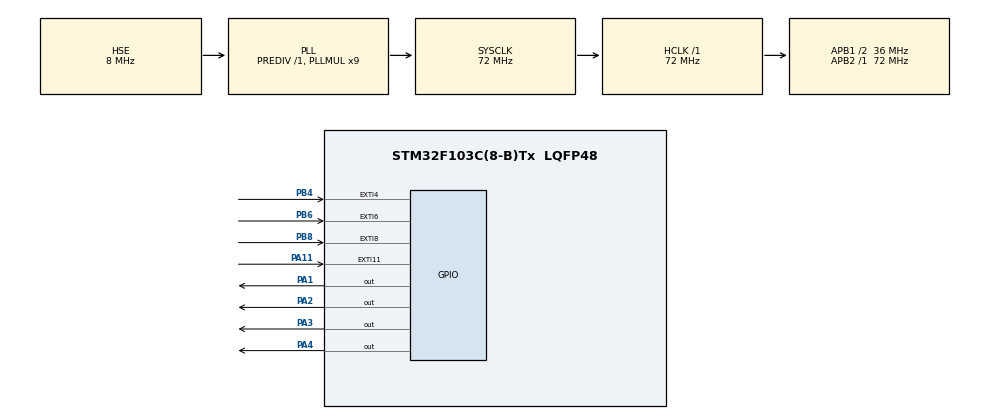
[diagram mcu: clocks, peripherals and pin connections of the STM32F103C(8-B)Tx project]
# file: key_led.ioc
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Mcu.Family=STM32F1
Mcu.Name=STM32F103C(8-B)Tx
Mcu.Package=LQFP48
NVIC.EXTI15_10_IRQn=true\:0\:0\:false\:false\:true\:true\:true\:true
NVIC.EXTI4_IRQn=true\:0\:0\:false\:false\:true\:true\:true\:true
NVIC.EXTI9_5_IRQn=true\:0\:0\:false\:false\:true\:true\:true\:true
NVIC.PriorityGroup=NVIC_PRIORITYGROUP_4
PA0-WKUP.Mode=SYS_WakeUp0
PA0-WKUP.Signal=SYS_WKUP
PA1.GPIO_PuPd=GPIO_NOPULL
PA1.PinState=GPIO_PIN_SET
PA1.Signal=GPIO_Output
PA11.GPIO_ModeDefaultEXTI=GPIO_MODE_IT_FALLING
PA11.GPIO_PuPd=GPIO_PULLUP
PA11.Signal=GPXTI11
PA13.Mode=Serial_Wire
PA13.Signal=SYS_JTMS-SWDIO
PA14.Mode=Serial_Wire
PA14.Signal=SYS_JTCK-SWCLK
PA2.GPIO_PuPd=GPIO_NOPULL
PA2.PinState=GPIO_PIN_SET
PA2.Signal=GPIO_Output
PA3.GPIO_PuPd=GPIO_NOPULL
PA3.PinState=GPIO_PIN_SET
PA3.Signal=GPIO_Output
PA4.GPIO_PuPd=GPIO_NOPULL
PA4.PinState=GPIO_PIN_SET
PA4.Signal=GPIO_Output
PB4.GPIO_ModeDefaultEXTI=GPIO_MODE_IT_FALLING
PB4.GPIO_PuPd=GPIO_PULLUP
PB4.Signal=GPXTI4
PB6.GPIO_ModeDefaultEXTI=GPIO_MODE_IT_FALLING
PB6.GPIO_PuPd=GPIO_PULLUP
PB6.Signal=GPXTI6
PB8.GPIO_ModeDefaultEXTI=GPIO_MODE_IT_FALLING
PB8.GPIO_PuPd=GPIO_PULLUP
PB8.Signal=GPXTI8
PD0-OSC_IN.Mode=HSE-External-Oscillator
PD0-OSC_IN.Signal=RCC_OSC_IN
PD1-OSC_OUT.Mode=HSE-External-Oscillator
PD1-OSC_OUT.Signal=RCC_OSC_OUT
ProjectManager.HeapSize=0x200
ProjectManager.StackSize=0x400
ProjectManager.TargetToolchain=MDK-ARM V5.32
RCC.AHBFreq_Value=72000000
RCC.APB1CLKDivider=RCC_HCLK_DIV2
RCC.APB1Freq_Value=36000000
RCC.APB1TimFreq_Value=72000000
RCC.APB2Freq_Value=72000000
RCC.APB2TimFreq_Value=72000000
RCC.HCLKFreq_Value=72000000
RCC.PLLMUL=RCC_PLL_MUL9
RCC.PLLSourceVirtual=RCC_PLLSOURCE_HSE
RCC.SYSCLKFreq_VALUE=72000000
RCC.SYSCLKSource=RCC_SYSCLKSOURCE_PLLCLK
RCC.USBFreq_Value=72000000
board=custom

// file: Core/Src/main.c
/* USER CODE BEGIN Header */
/* USER CODE END Header */
#include "main.h"
#include "gpio.h"

/* USER CODE BEGIN PD */

/* 消抖延时时间，单位毫秒（ms），一般设为 50ms 足够 */
#define DEBOUNCE_TIME  50

/* USER CODE END PD */

/* USER CODE BEGIN PV */

/* 存储各个按键上次触发的时间戳（用于消抖） */
static uint32_t last_tick_led1 = 0;
static uint32_t last_tick_led2 = 0;
static uint32_t last_tick_led3 = 0;
static uint32_t last_tick_led4 = 0;

volatile uint8_t flag_led1 = 0;  // PB8按下，控制PA1
volatile uint8_t flag_led2 = 0;  // PB6按下，控制PA2
volatile uint8_t flag_led3 = 0;  // PB4按下，控制PA3
volatile uint8_t flag_led4 = 0;  // PA11按下，控制PA4

/* USER CODE END PV */

void SystemClock_Config(void);

int main(void)
{

  /* MCU Configuration--------------------------------------------------------*/

  /* Reset of all peripherals, Initializes the Flash interface and the Systick. */
  HAL_Init();

  /* Configure the system clock */
  SystemClock_Config();

  /* Initialize all configured peripherals */
  MX_GPIO_Init();

  /* Infinite loop */
  while (1)
  {

    /* USER CODE BEGIN 3 */
	 /* 获取当前系统运行时间（单位：ms） */
    uint32_t current_tick = HAL_GetTick();

    /* ----- 按键1（PB8）控制 PA1 LED ----- */
    if (flag_led1 == 1)
    {
        /* 判断距离上次翻转是否超过了 50ms（消抖） */
        if (current_tick - last_tick_led1 >= DEBOUNCE_TIME)
        {
            HAL_GPIO_TogglePin(GPIOA, GPIO_PIN_1);
            last_tick_led1 = current_tick;  // 更新最后一次翻转的时间
        }
        flag_led1 = 0;  /* 无论是否执行翻转，都要清除标志，防止重复响应 */
    }

    /* ----- 按键2（PB6）控制 PA2 LED ----- */
    if (flag_led2 == 1)
    {
        if (current_tick - last_tick_led2 >= DEBOUNCE_TIME)
        {
            HAL_GPIO_TogglePin(GPIOA, GPIO_PIN_2);
            last_tick_led2 = current_tick;
        }
        flag_led2 = 0;
    }

    /* ----- 按键3（PB4）控制 PA3 LED ----- */
    if (flag_led3 == 1)
    {
        if (current_tick - last_tick_led3 >= DEBOUNCE_TIME)
        {
            HAL_GPIO_TogglePin(GPIOA, GPIO_PIN_3);
            last_tick_led3 = current_tick;
        }
        flag_led3 = 0;
    }

    /* ----- 按键4（PA11）控制 PA4 LED ----- */
    if (flag_led4 == 1)
    {
        if (current_tick - last_tick_led4 >= DEBOUNCE_TIME)
        {
            HAL_GPIO_TogglePin(GPIOA, GPIO_PIN_4);
            last_tick_led4 = current_tick;
        }
        flag_led4 = 0;
    }

    /* 加一个极短的延时（1~5ms），让CPU喘口气，避免一直死循环占用资源 */
    HAL_Delay(1);
  }
  /* USER CODE END 3 */
}

void SystemClock_Config(void)
{
  RCC_OscInitTypeDef RCC_OscInitStruct = {0};
  RCC_ClkInitTypeDef RCC_ClkInitStruct = {0};

  /** Initializes the RCC Oscillators according to the specified parameters
  * in the RCC_OscInitTypeDef structure.
  */
  RCC_OscInitStruct.OscillatorType = RCC_OSCILLATORTYPE_HSE;
  RCC_OscInitStruct.HSEState = RCC_HSE_ON;
  RCC_OscInitStruct.HSEPredivValue = RCC_HSE_PREDIV_DIV1;
  RCC_OscInitStruct.HSIState = RCC_HSI_ON;
  RCC_OscInitStruct.PLL.PLLState = RCC_PLL_ON;
  RCC_OscInitStruct.PLL.PLLSource = RCC_PLLSOURCE_HSE;
  RCC_OscInitStruct.PLL.PLLMUL = RCC_PLL_MUL9;
  if (HAL_RCC_OscConfig(&RCC_OscInitStruct) != HAL_OK)
  {
    Error_Handler();
  }

  /** Initializes the CPU, AHB and APB buses clocks
  */
  RCC_ClkInitStruct.ClockType = RCC_CLOCKTYPE_HCLK|RCC_CLOCKTYPE_SYSCLK
                              |RCC_CLOCKTYPE_PCLK1|RCC_CLOCKTYPE_PCLK2;
  RCC_ClkInitStruct.SYSCLKSource = RCC_SYSCLKSOURCE_PLLCLK;
  RCC_ClkInitStruct.AHBCLKDivider = RCC_SYSCLK_DIV1;
  RCC_ClkInitStruct.APB1CLKDivider = RCC_HCLK_DIV2;
  RCC_ClkInitStruct.APB2CLKDivider = RCC_HCLK_DIV1;

  if (HAL_RCC_ClockConfig(&RCC_ClkInitStruct, FLASH_LATENCY_2) != HAL_OK)
  {
    Error_Handler();
  }
}

/* USER CODE BEGIN 4 */

void HAL_GPIO_EXTI_Callback(uint16_t GPIO_Pin)
{
    switch (GPIO_Pin)
    {
        case GPIO_PIN_8:
            flag_led1 = 1;
            break;
        case GPIO_PIN_6:
            flag_led2 = 1;
            break;
        case GPIO_PIN_4:
            flag_led3 = 1;
            break;
        case GPIO_PIN_11:
            flag_led4 = 1;
            break;
        default:
            break;
    }
}

/* USER CODE END 4 */

void Error_Handler(void)
{
  /* USER CODE BEGIN Error_Handler_Debug */
  /* User can add his own implementation to report the HAL error return state */
  __disable_irq();
  while (1)
  {
		 if (flag_led1)
    {
        HAL_GPIO_TogglePin(GPIOA, GPIO_PIN_1);
        flag_led1 = 0;
    }
    if (flag_led2)
    {
        HAL_GPIO_TogglePin(GPIOA, GPIO_PIN_2);
        flag_led2 = 0;
    }
    if (flag_led3)
    {
        HAL_GPIO_TogglePin(GPIOA, GPIO_PIN_3);
        flag_led3 = 0;
    }
    if (flag_led4)
    {
        HAL_GPIO_TogglePin(GPIOA, GPIO_PIN_4);
        flag_led4 = 0;
  }
  /* USER CODE END Error_Handler_Debug */
}
}
